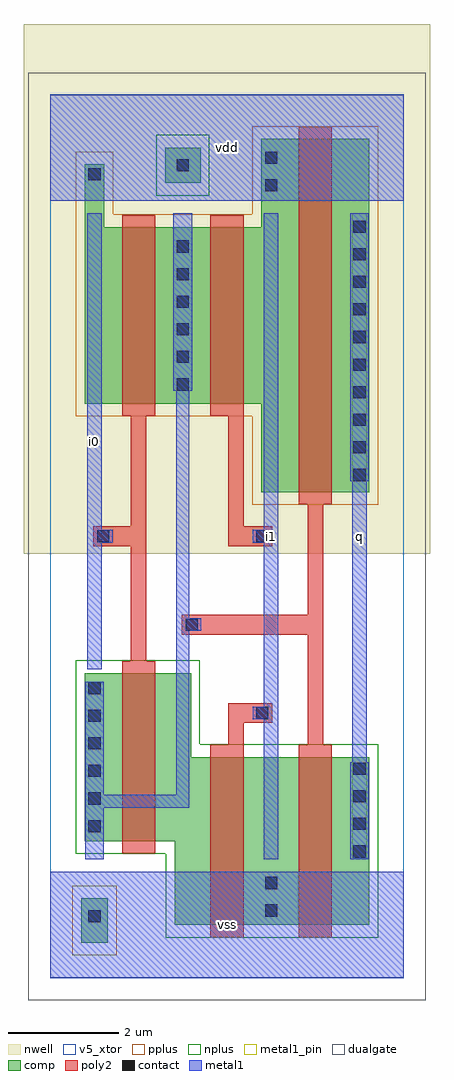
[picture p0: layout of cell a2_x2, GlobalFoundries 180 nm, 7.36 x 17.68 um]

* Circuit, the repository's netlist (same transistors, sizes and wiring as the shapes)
* a2_x2
.subckt a2_x2 vss q vdd i0 i1
Mn_net0_1 vss _net0 q vss nfet_06v0 l=0.6um w=3.04um
Mp_net0_1 vdd _net0 q vdd pfet_06v0 l=0.6um w=6.4um
Mn_i0_1 _net0 i0 _net1 vss nfet_06v0 l=0.6um w=3.04um
Mp_i0_1 vdd i0 _net0 vdd pfet_06v0 l=0.6um w=3.2um
Mp_i1_1 _net0 i1 vdd vdd pfet_06v0 l=0.6um w=3.2um
Mn_i1_1 _net1 i1 vss vss nfet_06v0 l=0.6um w=3.04um
.ends a2_x2

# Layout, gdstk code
import gdstk
lib = gdstk.Library(unit=1e-6, precision=1e-09)
def R(c, l, rs):  # rectangles x0, y0, x1, y1
    for r in rs: c.add(gdstk.rectangle(r[:2], r[2:], *l))
def A(c, l, x, y, w, h, nx, ny, dx, dy):  # array of equal rectangles
    R(c, l, [(x+i*dx, y+j*dy, x+i*dx+w, y+j*dy+h) for i in range(nx) for j in range(ny)])
def P(c, l, *ps):  # polygons
    for p in ps: c.add(gdstk.Polygon(p, *l))
nwell = (21, 0)
comp = (22, 0)
poly2 = (30, 0)
pplus = (31, 0)
nplus = (32, 0)
contact = (33, 0)
metal1 = (34, 0)
metal1_pin = (34, 10)
dualgate = (55, 0)
v5_xtor = (112, 1)

a2_x2 = lib.new_cell('a2_x2')
R(a2_x2, nwell, [(-0.48,7.68,6.88,17.28)])
R(a2_x2, comp, [(0.56,0.64,1.04,1.44), (2.08,14.4,2.72,15.04)])
P(a2_x2, comp, [(2.25,0.96),(2.25,2.48),(0.62,2.48),(0.62,5.52),(2.55,5.52),(2.55,4),(5.78,4),(5.78,0.96)],
  [(3.82,8.8),(3.82,10.4),(0.62,10.4),(0.62,14.74),(0.98,14.74),(0.98,13.6),(3.82,13.6),(3.82,15.2),(5.78,15.2),(5.78,8.8)])
P(a2_x2, poly2, [(4.5,0.74),(4.5,4.22),(4.66,4.22),(4.66,6.22),(2.38,6.22),(2.38,6.58),(4.66,6.58),(4.66,8.58),(4.5,8.58),(4.5,15.42),(5.1,15.42),(5.1,8.58),(4.94,8.58),(4.94,4.22),(5.1,4.22),(5.1,0.74)],
  [(1.3,2.26),(1.3,5.74),(1.46,5.74),(1.46,7.82),(0.78,7.82),(0.78,8.18),(1.46,8.18),(1.46,10.18),(1.3,10.18),(1.3,13.82),(1.9,13.82),(1.9,10.18),(1.74,10.18),(1.74,5.74),(1.9,5.74),(1.9,2.26)],
  [(3.22,7.82),(3.22,10.18),(2.9,10.18),(2.9,13.82),(3.5,13.82),(3.5,8.18),(4.02,8.18),(4.02,7.82)],
  [(2.9,0.74),(2.9,4.22),(3.22,4.22),(3.22,4.98),(4.02,4.98),(4.02,4.62),(3.5,4.62),(3.5,0.74)])
R(a2_x2, pplus, [(0.4,0.41,1.2,1.67)])
P(a2_x2, pplus, [(3.66,8.57),(3.66,10.17),(0.46,10.17),(0.46,14.97),(1.14,14.97),(1.14,13.83),(3.66,13.83),(3.66,15.43),(5.94,15.43),(5.94,8.57)])
R(a2_x2, nplus, [(1.92,14.17,2.88,15.27)])
P(a2_x2, nplus, [(2.09,0.73),(2.09,2.25),(0.46,2.25),(0.46,5.75),(2.71,5.75),(2.71,4.23),(5.94,4.23),(5.94,0.73)])
A(a2_x2, contact, 5.49, 2.18, 0.22, 0.22, 1, 4, 0, 0.5)
A(a2_x2, contact, 0.69, 2.64, 0.22, 0.22, 1, 6, 0, 0.5)
A(a2_x2, contact, 5.49, 9, 0.22, 0.22, 1, 10, 0, 0.5)
A(a2_x2, contact, 2.29, 10.64, 0.22, 0.22, 1, 6, 0, 0.5)
R(a2_x2, contact, [(0.69,1.01,0.91,1.23), (3.89,1.11,4.11,1.33), (3.89,1.61,4.11,1.83), (3.73,4.69,3.95,4.91), (2.45,6.29,2.67,6.51), (0.85,7.89,1.07,8.11), (3.73,7.89,3.95,8.11), (3.89,14.25,4.11,14.47), (0.69,14.45,0.91,14.67), (2.29,14.61,2.51,14.83), (3.89,14.75,4.11,14.97)])
R(a2_x2, metal1, [(0,0,6.4,1.92), (0,14.08,6.4,16)])
P(a2_x2, metal1, [(5.43,2.15),(5.43,3.905),(5.47,3.905),(5.47,8.995),(5.43,8.995),(5.43,13.85),(5.77,13.85),(5.77,8.995),(5.73,8.995),(5.73,3.905),(5.77,3.905),(5.77,2.15)],
  [(0.63,2.15),(0.63,5.365),(0.97,5.365),(0.97,3.315),(2.285,3.315),(2.285,10.635),(2.23,10.635),(2.23,13.85),(2.57,13.85),(2.57,10.635),(2.515,10.635),(2.515,6.515),(2.73,6.515),(2.73,6.285),(2.515,6.285),(2.515,3.085),(0.97,3.085),(0.97,2.15)],
  [(0.67,5.595),(0.67,13.85),(0.93,13.85),(0.93,8.115),(1.13,8.115),(1.13,7.885),(0.93,7.885),(0.93,5.595)],
  [(3.87,2.15),(3.87,4.685),(3.67,4.685),(3.67,4.915),(3.87,4.915),(3.87,7.885),(3.67,7.885),(3.67,8.115),(3.87,8.115),(3.87,13.85),(4.13,13.85),(4.13,2.15)])
R(a2_x2, metal1_pin, [(0,0,6.4,1.92), (3.87,2.15,4.13,13.85), (5.47,2.15,5.73,13.85), (0.67,5.595,0.93,13.85), (0,14.08,6.4,16)])
R(a2_x2, dualgate, [(-0.4,-0.4,6.8,16.4)])
R(a2_x2, v5_xtor, [(-0.005,-0.005,6.405,16.005)])
a2_x2.add(gdstk.Label('vss', (3.2,0.96), layer=34, texttype=10))
a2_x2.add(gdstk.Label('q', (5.6,8), layer=34, texttype=10))
a2_x2.add(gdstk.Label('vdd', (3.2,15.04), layer=34, texttype=10))
a2_x2.add(gdstk.Label('i0', (0.8,9.723), layer=34, texttype=10))
a2_x2.add(gdstk.Label('i1', (4,8), layer=34, texttype=10))

lib.write_gds('a2_x2.gds')
